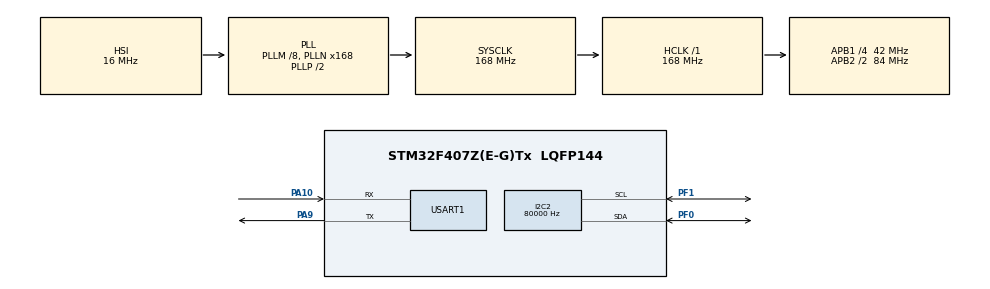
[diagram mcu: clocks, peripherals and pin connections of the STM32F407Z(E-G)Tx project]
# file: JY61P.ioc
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Dma.Request0=USART1_RX
Dma.Request1=USART1_TX
Dma.USART1_RX.0.Direction=DMA_PERIPH_TO_MEMORY
Dma.USART1_RX.0.FIFOMode=DMA_FIFOMODE_DISABLE
Dma.USART1_RX.0.Instance=DMA2_Stream2
Dma.USART1_RX.0.MemDataAlignment=DMA_MDATAALIGN_BYTE
Dma.USART1_RX.0.MemInc=DMA_MINC_ENABLE
Dma.USART1_RX.0.Mode=DMA_NORMAL
Dma.USART1_RX.0.PeriphDataAlignment=DMA_PDATAALIGN_BYTE
Dma.USART1_RX.0.PeriphInc=DMA_PINC_DISABLE
Dma.USART1_RX.0.Priority=DMA_PRIORITY_LOW
Dma.USART1_TX.1.Direction=DMA_MEMORY_TO_PERIPH
Dma.USART1_TX.1.FIFOMode=DMA_FIFOMODE_DISABLE
Dma.USART1_TX.1.Instance=DMA2_Stream7
Dma.USART1_TX.1.MemDataAlignment=DMA_MDATAALIGN_BYTE
Dma.USART1_TX.1.MemInc=DMA_MINC_ENABLE
Dma.USART1_TX.1.Mode=DMA_NORMAL
Dma.USART1_TX.1.PeriphDataAlignment=DMA_PDATAALIGN_BYTE
Dma.USART1_TX.1.PeriphInc=DMA_PINC_DISABLE
Dma.USART1_TX.1.Priority=DMA_PRIORITY_LOW
I2C2.ClockSpeed=80000
I2C2.I2C_Speed_Mode=I2C_Standard
Mcu.Family=STM32F4
Mcu.Name=STM32F407Z(E-G)Tx
Mcu.Package=LQFP144
NVIC.DMA2_Stream2_IRQn=true\:0\:0\:false\:false\:true\:false\:true\:true
NVIC.DMA2_Stream7_IRQn=true\:0\:0\:false\:false\:true\:false\:true\:true
NVIC.PriorityGroup=NVIC_PRIORITYGROUP_4
NVIC.USART1_IRQn=true\:0\:0\:false\:false\:true\:true\:true\:true
PA10.Mode=Asynchronous
PA10.Signal=USART1_RX
PA13.Mode=Serial_Wire
PA13.Signal=SYS_JTMS-SWDIO
PA14.Mode=Serial_Wire
PA14.Signal=SYS_JTCK-SWCLK
PA9.Mode=Asynchronous
PA9.Signal=USART1_TX
PF0.Mode=I2C
PF0.Signal=I2C2_SDA
PF1.Mode=I2C
PF1.Signal=I2C2_SCL
ProjectManager.HeapSize=0x200
ProjectManager.StackSize=0x400
ProjectManager.TargetToolchain=STM32CubeIDE
RCC.48MHZClocksFreq_Value=84000000
RCC.AHBFreq_Value=168000000
RCC.APB1CLKDivider=RCC_HCLK_DIV4
RCC.APB1Freq_Value=42000000
RCC.APB1TimFreq_Value=84000000
RCC.APB2CLKDivider=RCC_HCLK_DIV2
RCC.APB2Freq_Value=84000000
RCC.APB2TimFreq_Value=168000000
RCC.CortexFreq_Value=168000000
RCC.HCLKFreq_Value=168000000
RCC.HSE_VALUE=25000000
RCC.HSI_VALUE=16000000
RCC.LSE_VALUE=32768
RCC.PLLM=8
RCC.PLLN=168
RCC.SYSCLKFreq_VALUE=168000000
RCC.SYSCLKSource=RCC_SYSCLKSOURCE_PLLCLK
RCC.VCOOutputFreq_Value=336000000
USART1.VirtualMode=VM_ASYNC
board=custom

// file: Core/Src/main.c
/* USER CODE BEGIN Header */
/**
  ******************************************************************************
  * @file           : main.c
  * @brief          : Main program body
  ******************************************************************************
  * @attention
  *
  * Copyright (c) 2026 STMicroelectronics.
  * All rights reserved.
  *
  * This software is licensed under terms that can be found in the LICENSE file
  * in the root directory of this software component.
  * If no LICENSE file comes with this software, it is provided AS-IS.
  *
  ******************************************************************************
  */
/* USER CODE END Header */
#include "main.h"

/* USER CODE BEGIN Includes */
#include "jy61p.h"
/* USER CODE END Includes */

/* USER CODE BEGIN PD */
#define JY61P_REPORT_PERIOD_MS 1000U
#define JY61P_I2C_CLOCK_HZ     80000U
/* USER CODE END PD */

I2C_HandleTypeDef hi2c2;

UART_HandleTypeDef huart1;
DMA_HandleTypeDef hdma_usart1_rx;
DMA_HandleTypeDef hdma_usart1_tx;

void SystemClock_Config(void);
static void MX_GPIO_Init(void);
static void MX_DMA_Init(void);
static void MX_I2C2_Init(void);
static void MX_USART1_UART_Init(void);

int main(void)
{

  /* USER CODE BEGIN 1 */
  uint32_t last_report;
  /* USER CODE END 1 */

  /* MCU Configuration--------------------------------------------------------*/

  /* Reset of all peripherals, Initializes the Flash interface and the Systick. */
  HAL_Init();

  /* Configure the system clock */
  SystemClock_Config();

  /* Initialize all configured peripherals */
  MX_GPIO_Init();
  MX_DMA_Init();
  MX_I2C2_Init();
  MX_USART1_UART_Init();
  /* USER CODE BEGIN 2 */
  /* 等待模块上电完成；本程序只读数据，不修改 JY61P 的配置。 */
  HAL_Delay(1500U);
  const char startup[] = "JY61P I2C2 -> USART1, address=0x50\r\n";
  (void)HAL_UART_Transmit(&huart1, (uint8_t *)startup,
                          (uint16_t)(sizeof(startup) - 1U), 100U);
  /* 第一次进入主循环立即读，此后每秒报告一次。 */
  last_report = HAL_GetTick() - JY61P_REPORT_PERIOD_MS;
  /* USER CODE END 2 */

  /* Infinite loop */
  while (1)
  {

    /* USER CODE BEGIN 3 */
    uint32_t now = HAL_GetTick();
    if ((uint32_t)(now - last_report) >= JY61P_REPORT_PERIOD_MS)
    {
      last_report = now;
      JY61P_Report(&hi2c2, &huart1);
    }
  }
  /* USER CODE END 3 */
}

void SystemClock_Config(void)
{
  RCC_OscInitTypeDef RCC_OscInitStruct = {0};
  RCC_ClkInitTypeDef RCC_ClkInitStruct = {0};

  /** Configure the main internal regulator output voltage
  */
  __HAL_RCC_PWR_CLK_ENABLE();
  __HAL_PWR_VOLTAGESCALING_CONFIG(PWR_REGULATOR_VOLTAGE_SCALE1);

  /** Initializes the RCC Oscillators according to the specified parameters
  * in the RCC_OscInitTypeDef structure.
  */
  RCC_OscInitStruct.OscillatorType = RCC_OSCILLATORTYPE_HSI;
  RCC_OscInitStruct.HSIState = RCC_HSI_ON;
  RCC_OscInitStruct.HSICalibrationValue = RCC_HSICALIBRATION_DEFAULT;
  RCC_OscInitStruct.PLL.PLLState = RCC_PLL_ON;
  RCC_OscInitStruct.PLL.PLLSource = RCC_PLLSOURCE_HSI;
  RCC_OscInitStruct.PLL.PLLM = 8;
  RCC_OscInitStruct.PLL.PLLN = 168;
  RCC_OscInitStruct.PLL.PLLP = RCC_PLLP_DIV2;
  RCC_OscInitStruct.PLL.PLLQ = 4;
  if (HAL_RCC_OscConfig(&RCC_OscInitStruct) != HAL_OK)
  {
    Error_Handler();
  }

  /** Initializes the CPU, AHB and APB buses clocks
  */
  RCC_ClkInitStruct.ClockType = RCC_CLOCKTYPE_HCLK|RCC_CLOCKTYPE_SYSCLK
                              |RCC_CLOCKTYPE_PCLK1|RCC_CLOCKTYPE_PCLK2;
  RCC_ClkInitStruct.SYSCLKSource = RCC_SYSCLKSOURCE_PLLCLK;
  RCC_ClkInitStruct.AHBCLKDivider = RCC_SYSCLK_DIV1;
  RCC_ClkInitStruct.APB1CLKDivider = RCC_HCLK_DIV4;
  RCC_ClkInitStruct.APB2CLKDivider = RCC_HCLK_DIV2;

  if (HAL_RCC_ClockConfig(&RCC_ClkInitStruct, FLASH_LATENCY_5) != HAL_OK)
  {
    Error_Handler();
  }
}

static void MX_I2C2_Init(void)
{

  hi2c2.Instance = I2C2;
  hi2c2.Init.ClockSpeed = 80000;
  hi2c2.Init.DutyCycle = I2C_DUTYCYCLE_2;
  hi2c2.Init.OwnAddress1 = 0;
  hi2c2.Init.AddressingMode = I2C_ADDRESSINGMODE_7BIT;
  hi2c2.Init.DualAddressMode = I2C_DUALADDRESS_DISABLE;
  hi2c2.Init.OwnAddress2 = 0;
  hi2c2.Init.GeneralCallMode = I2C_GENERALCALL_DISABLE;
  hi2c2.Init.NoStretchMode = I2C_NOSTRETCH_DISABLE;
  if (HAL_I2C_Init(&hi2c2) != HAL_OK)
  {
    Error_Handler();
  }
  /* USER CODE BEGIN I2C2_Init 2 */
  /* 保持低于 ES0182 勘误的 88~100kHz 范围。
   * 用户区会被 CubeMX 保留；即使重新生成恢复了默认 100kHz，
   * 在开始读取前也会重新配置为 80kHz。修改频率时同步修改宏和 .ioc。 */
  if (hi2c2.Init.ClockSpeed != JY61P_I2C_CLOCK_HZ)
  {
    hi2c2.Init.ClockSpeed = JY61P_I2C_CLOCK_HZ;
    if (HAL_I2C_Init(&hi2c2) != HAL_OK)
    {
      Error_Handler();
    }
  }
  /* USER CODE END I2C2_Init 2 */

}

static void MX_USART1_UART_Init(void)
{

  huart1.Instance = USART1;
  huart1.Init.BaudRate = 115200;
  huart1.Init.WordLength = UART_WORDLENGTH_8B;
  huart1.Init.StopBits = UART_STOPBITS_1;
  huart1.Init.Parity = UART_PARITY_NONE;
  huart1.Init.Mode = UART_MODE_TX_RX;
  huart1.Init.HwFlowCtl = UART_HWCONTROL_NONE;
  huart1.Init.OverSampling = UART_OVERSAMPLING_16;
  if (HAL_UART_Init(&huart1) != HAL_OK)
  {
    Error_Handler();
  }

}

static void MX_DMA_Init(void)
{

  /* DMA controller clock enable */
  __HAL_RCC_DMA2_CLK_ENABLE();

  /* DMA interrupt init */
  /* DMA2_Stream2_IRQn interrupt configuration */
  HAL_NVIC_SetPriority(DMA2_Stream2_IRQn, 0, 0);
  HAL_NVIC_EnableIRQ(DMA2_Stream2_IRQn);
  /* DMA2_Stream7_IRQn interrupt configuration */
  HAL_NVIC_SetPriority(DMA2_Stream7_IRQn, 0, 0);
  HAL_NVIC_EnableIRQ(DMA2_Stream7_IRQn);

}

static void MX_GPIO_Init(void)
{

  /* GPIO Ports Clock Enable */
  __HAL_RCC_GPIOF_CLK_ENABLE();
  __HAL_RCC_GPIOA_CLK_ENABLE();

}

void Error_Handler(void)
{
  __disable_irq();
  while (1)
  {
  }
}
